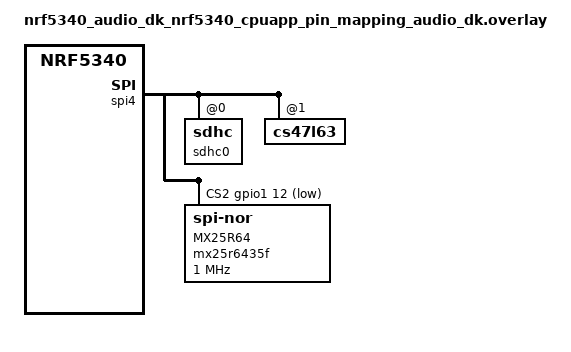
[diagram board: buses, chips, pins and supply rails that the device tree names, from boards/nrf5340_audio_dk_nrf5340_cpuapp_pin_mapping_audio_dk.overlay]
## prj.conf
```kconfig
CONFIG_STDOUT_CONSOLE=y
CONFIG_FLASH=y
CONFIG_SPI=y
CONFIG_BOARD_ENABLE_CPUNET=n
```

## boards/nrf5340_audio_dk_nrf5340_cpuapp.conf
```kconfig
#
# Copyright (c) 2019 Peter Bigot Consulting, LLC
# Copyright (c) 2019 Nordic Semiconductor ASA
#
# SPDX-License-Identifier: Apache-2.0
#

CONFIG_SPI_NOR=y
CONFIG_LOG=y
CONFIG_FLASH_LOG_LEVEL_DBG=y
CONFIG_NCS_INCLUDE_RPMSG_CHILD_IMAGE=n
# Enable uart driver
CONFIG_SERIAL=y

# enable console
CONFIG_CONSOLE=y
CONFIG_UART_CONSOLE=y
#CONFIG_SPI_NOR_IDLE_IN_DPD=y
CONFIG_SHELL=y
CONFIG_FLASH_SHELL=y
CONFIG_LOG_BACKEND_UART=y
CONFIG_SPI_NOR_SFDP_DEVICETREE=y
```

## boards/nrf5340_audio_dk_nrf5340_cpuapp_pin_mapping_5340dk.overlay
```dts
/delete-node/ &dsp_reset_out;

&qspi {
	status = "disabled";
};
&i2s0 {
	status = "disabled";
};

&spi4 {
	miso-pin = < 13 >;
	mosi-pin = < 14 >;
	cs-gpios = < &gpio0 18 0x1 >;
	sck-pin = < 17 >;
	status = "okay";
	sdhc0: sdhc@0 {
		status = "disabled";
	};
	cs47l63: cs47l63@1 {
		status = "disabled";
	};
	mx25r64_2: mx25r6435f@0 {
		
		compatible = "jedec,spi-nor";
		reg = <0>;
		spi-max-frequency = <400000>;

		label = "MX25R64";
		jedec-id = [c2 28 17];
		sfdp-bfp = [
			e5 20 f1 ff  ff ff ff 03  44 eb 08 6b  08 3b 04 bb
			ee ff ff ff  ff ff 00 ff  ff ff 00 ff  0c 20 0f 52
			10 d8 00 ff  23 72 f5 00  82 ed 04 cc  44 83 68 44
			30 b0 30 b0  f7 c4 d5 5c  00 be 29 ff  f0 d0 ff ff
		];
		size = <67108864>;
		has-dpd;
		t-enter-dpd = <10000>;
		t-exit-dpd = <5000>;
		dpd-wakeup-sequence = <30000 20 45000>;	
	};	
};
```

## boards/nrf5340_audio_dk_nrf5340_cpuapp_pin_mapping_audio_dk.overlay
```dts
&qspi {
	status = "disabled";
};

&spi4 {
	cs-gpios = <&gpio0 11 GPIO_ACTIVE_LOW>, <&gpio0 17 GPIO_ACTIVE_LOW>, < &gpio1 12 0x1 >;
	status = "okay";
	sdhc0: sdhc@0 {
		status = "okay";
	};
	cs47l63: cs47l63@1 {
		status = "okay";
	};
	mx25r64_2: mx25r6435f@2 {
		
		compatible = "jedec,spi-nor";
		reg = <2>;
		spi-max-frequency = <1000000>;

		label = "MX25R64";
		jedec-id = [c2 28 17];
		sfdp-bfp = [
			e5 20 f1 ff  ff ff ff 03  44 eb 08 6b  08 3b 04 bb
			ee ff ff ff  ff ff 00 ff  ff ff 00 ff  0c 20 0f 52
			10 d8 00 ff  23 72 f5 00  82 ed 04 cc  44 83 68 44
			30 b0 30 b0  f7 c4 d5 5c  00 be 29 ff  f0 d0 ff ff
		];
		size = <67108864>;
		has-dpd;
		t-enter-dpd = <10000>;
		t-exit-dpd = <5000>;
		//dpd-wakeup-sequence = <30000 20 45000>;	
	};	
};
```

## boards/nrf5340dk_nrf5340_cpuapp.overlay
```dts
//delete-node/ mx25r64_2
&qspi {
	status = "disabled";
};

&spi4 {
	miso-pin = < 0xe >;
	mosi-pin = < 0xd >;
	cs-gpios = < &gpio0 0x12 0x1 >;
	sck-pin = < 0x11 >;
	status = "okay";
	mx25r64_2: mx25r6435f@0 {
		
		compatible = "jedec,spi-nor";
		reg = <0>;
		spi-max-frequency = <400000>;

		label = "MX25R64";
		jedec-id = [c2 28 17];
		sfdp-bfp = [
			e5 20 f1 ff  ff ff ff 03  44 eb 08 6b  08 3b 04 bb
			ee ff ff ff  ff ff 00 ff  ff ff 00 ff  0c 20 0f 52
			10 d8 00 ff  23 72 f5 00  82 ed 04 cc  44 83 68 44
			30 b0 30 b0  f7 c4 d5 5c  00 be 29 ff  f0 d0 ff ff
		];
		size = <67108864>;
		has-dpd;
		t-enter-dpd = <10000>;
		t-exit-dpd = <35000>;
	};	
};
```

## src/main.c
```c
/*
 * Copyright (c) 2016 Intel Corporation.
 *
 * SPDX-License-Identifier: Apache-2.0
 */

#include <zephyr.h>
#include <drivers/flash.h>
#include <device.h>
#include <devicetree.h>
#include <stdio.h>
#include <string.h>
#include "nrfx_clock.h"
#include "nrfx_gpiote.h"
#include <drivers/gpio.h>

#if (CONFIG_SPI_NOR - 0) ||				\
	DT_NODE_HAS_STATUS(DT_INST(0, jedec_spi_nor), okay)
#define FLASH_DEVICE DT_LABEL(DT_INST(0, jedec_spi_nor))
#define FLASH_NAME "JEDEC SPI-NOR"
#elif (CONFIG_NORDIC_QSPI_NOR - 0) || \
	DT_NODE_HAS_STATUS(DT_INST(0, nordic_qspi_nor), okay)
#define FLASH_DEVICE DT_LABEL(DT_INST(0, nordic_qspi_nor))
#define FLASH_NAME "JEDEC QSPI-NOR"
#elif DT_NODE_HAS_STATUS(DT_INST(0, st_stm32_qspi_nor), okay)
#define FLASH_DEVICE DT_LABEL(DT_INST(0, st_stm32_qspi_nor))
#define FLASH_NAME "JEDEC QSPI-NOR"
#else
#error Unsupported flash driver
#endif

#if defined(CONFIG_BOARD_ADAFRUIT_FEATHER_STM32F405)
#define FLASH_TEST_REGION_OFFSET 0xf000
#elif defined(CONFIG_BOARD_ARTY_A7_ARM_DESIGNSTART_M1) || \
	defined(CONFIG_BOARD_ARTY_A7_ARM_DESIGNSTART_M3)
/* The FPGA bitstream is stored in the lower 536 sectors of the flash. */
#define FLASH_TEST_REGION_OFFSET \
	DT_REG_SIZE(DT_NODE_BY_FIXED_PARTITION_LABEL(fpga_bitstream))
#elif defined(CONFIG_BOARD_NPCX9M6F_EVB) || \
	defined(CONFIG_BOARD_NPCX7M6FB_EVB)
#define FLASH_TEST_REGION_OFFSET 0x7F000
#else
//#define FLASH_TEST_REGION_OFFSET 0xff000
#define FLASH_TEST_REGION_OFFSET 0x0
#endif
#define FLASH_SECTOR_SIZE        4096
#define SHARED_SPI DT_NODELABEL(spi4) /* SD card and HW codec share the SPI4 */
#if defined(CONFIG_BOARD_NRF5340_AUDIO_DK_NRF5340_CPUAPP)
static int core_app_config(void)
{
	int ret;

	nrf_gpiote_latency_t latency = nrfx_gpiote_latency_get();

	if (latency != NRF_GPIOTE_LATENCY_LOWPOWER) {
		printk("Setting gpiote latency to low power");
		nrfx_gpiote_latency_set(NRF_GPIOTE_LATENCY_LOWPOWER);
	}

	/* Use this to turn on 128 MHz clock for cpu_app */
	ret = nrfx_clock_divider_set(NRF_CLOCK_DOMAIN_HFCLK, NRF_CLOCK_HFCLK_DIV_1);

	nrfx_clock_hfclk_start();
	while (!nrfx_clock_hfclk_is_running()) {
	}

	/* Workaround for issue with PCA10121 v0.7.0 related to SD-card */
	static const struct device *gpio_dev;

	nrf_gpio_pin_drive_t high_drive = NRF_GPIO_PIN_H0H1;

	nrf_gpio_reconfigure(DT_PROP(SHARED_SPI, mosi_pin), NULL, NULL, NULL, &high_drive, NULL);
	nrf_gpio_reconfigure(DT_PROP(SHARED_SPI, sck_pin), NULL, NULL, NULL, &high_drive, NULL);

	gpio_dev = device_get_binding("GPIO_0");

	if (gpio_dev == NULL) {
		return -ENODEV;
	}

	/* USB port detection
	 * See nPM1100 datasheet for more information
	 */
	ret = gpio_pin_configure(gpio_dev, DT_GPIO_PIN(DT_NODELABEL(pmic_iset_out), gpios),
				 GPIO_OUTPUT_LOW);
#ifdef CONFIG_5340DK_PIN
	static const struct gpio_dt_spec dsp_sel =
		GPIO_DT_SPEC_GET(DT_NODELABEL(dsp_sel_out), gpios);

	if (!device_is_ready(dsp_sel.port)) {
		printk("GPIO is not ready!");
		return -ENXIO;
	}

	ret = gpio_pin_configure_dt(&dsp_sel, GPIO_OUTPUT_HIGH);
	if (ret) {
		return ret;
	}
#endif
	return 0;
}
#endif
void main(void)
{
	const uint8_t expected[] = { 0x55, 0xaa, 0x66, 0x99, 0x68, 0x61, 0x70, 0x70, 0x69, 0x72, 0x75, 0x6e};
	//const uint8_t expected[] = { 0x68, 0x61, 0x70, 0x70, 0x55, 0xaa, 0x66, 0x99};
	//const uint8_t expected[] = { 0x55, 0xaa, 0x66, 0x99};

	const size_t len = sizeof(expected);
	uint8_t buf[sizeof(expected)];
	const struct device *flash_dev;
	int rc;
#if defined(CONFIG_BOARD_NRF5340_AUDIO_DK_NRF5340_CPUAPP)
	core_app_config();
#endif	
	printf("\n" FLASH_NAME " SPI flash testing\n");
	printf("==========================\n");
	printf("%s\n", FLASH_DEVICE);

	flash_dev = device_get_binding(FLASH_DEVICE);
	if (!flash_dev) {
		printf("SPI flash driver %s was not found!\n",
		       FLASH_DEVICE);
		return;
	}

	/* Write protection needs to be disabled before each write or
	 * erase, since the flash component turns on write protection
	 * automatically after completion of write and erase
	 * operations.
	 */
	printf("\nTest 1: Flash erase\n");

	rc = flash_erase(flash_dev, FLASH_TEST_REGION_OFFSET,
			 FLASH_SECTOR_SIZE);
	if (rc != 0) {
		printf("Flash erase failed! %d\n", rc);
	} else {
		printf("Flash erase succeeded!\n");
	}

	printf("\nTest 2: Flash write\n");

	printf("Attempting to write %d bytes\n", len);
	#define WRITE_LENGTH 4
	for(int i=0;i*WRITE_LENGTH<len;i++) {
		printf("round %d\n", i);
		rc = flash_write(flash_dev, FLASH_TEST_REGION_OFFSET+(i*WRITE_LENGTH), expected+(i*WRITE_LENGTH), WRITE_LENGTH);
		if (rc != 0) {
			printf("Flash write failed! %d\n", rc);
			return;
		}

		memset(buf, 0, WRITE_LENGTH);
		rc = flash_read(flash_dev, FLASH_TEST_REGION_OFFSET+(i*WRITE_LENGTH), buf, WRITE_LENGTH);
		if (rc != 0) {
			printf("Flash read failed! %d\n", rc);
			return;
		}

		if (memcmp(expected+(i*WRITE_LENGTH), buf, WRITE_LENGTH) == 0) {
			printf("Data read matches data written. Good!!\n");
		} else {
			const uint8_t *wp = expected+(i*WRITE_LENGTH);
			const uint8_t *rp = buf;
			const uint8_t *rpe = rp + WRITE_LENGTH;

			printf("Data read does not match data written!!\n");
			while (rp < rpe) {
				printf("%08x wrote %02x read %02x %s\n",
					(uint32_t)(FLASH_TEST_REGION_OFFSET + (rp - buf)+(i*WRITE_LENGTH)),
					*wp, *rp, (*rp == *wp) ? "match" : "MISMATCH");
				++rp;
				++wp;
			}
		}
	}

}
```
